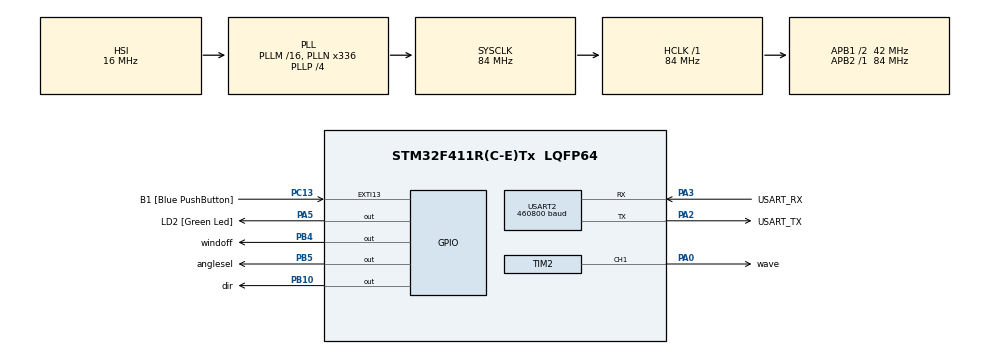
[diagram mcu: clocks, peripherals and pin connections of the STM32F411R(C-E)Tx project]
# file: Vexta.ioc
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Mcu.Family=STM32F4
Mcu.Name=STM32F411R(C-E)Tx
Mcu.Package=LQFP64
NVIC.EXTI15_10_IRQn=true\:0\:0\:false\:false\:true\:true\:true\:true
NVIC.PriorityGroup=NVIC_PRIORITYGROUP_0
NVIC.TIM2_IRQn=true\:0\:0\:false\:false\:true\:true\:true\:true
NVIC.USART2_IRQn=true\:0\:0\:false\:false\:true\:true\:true\:true
PA0-WKUP.GPIO_Label=wave
PA0-WKUP.Signal=S_TIM2_CH1_ETR
PA13.GPIO_Label=TMS
PA13.Mode=Serial_Wire
PA13.Signal=SYS_JTMS-SWDIO
PA14.GPIO_Label=TCK
PA14.Mode=Serial_Wire
PA14.Signal=SYS_JTCK-SWCLK
PA2.GPIO_Label=USART_TX
PA2.Mode=Asynchronous
PA2.Signal=USART2_TX
PA3.GPIO_Label=USART_RX
PA3.Mode=Asynchronous
PA3.Signal=USART2_RX
PA5.GPIO_Label=LD2 [Green Led]
PA5.Signal=GPIO_Output
PB10.GPIO_Label=dir
PB10.Signal=GPIO_Output
PB3.GPIO_Label=SWO
PB3.Signal=SYS_JTDO-SWO
PB4.GPIO_Label=windoff
PB4.Signal=GPIO_Output
PB5.GPIO_Label=anglesel
PB5.Signal=GPIO_Output
PC13-ANTI_TAMP.GPIO_Label=B1 [Blue PushButton]
PC13-ANTI_TAMP.GPIO_ModeDefaultEXTI=GPIO_MODE_IT_FALLING
PC13-ANTI_TAMP.Signal=GPXTI13
PC14-OSC32_IN.Mode=LSE-External-Oscillator
PC14-OSC32_IN.Signal=RCC_OSC32_IN
PC15-OSC32_OUT.Mode=LSE-External-Oscillator
PC15-OSC32_OUT.Signal=RCC_OSC32_OUT
PH0\ -\ OSC_IN.Mode=HSE-External-Clock-Source
PH0\ -\ OSC_IN.Signal=RCC_OSC_IN
PH1\ -\ OSC_OUT.Mode=HSE-External-Clock-Source
PH1\ -\ OSC_OUT.Signal=RCC_OSC_OUT
ProjectManager.HeapSize=0x200
ProjectManager.StackSize=0x400
ProjectManager.TargetToolchain=STM32CubeIDE
RCC.48MHZClocksFreq_Value=84000000
RCC.AHBFreq_Value=84000000
RCC.APB1CLKDivider=RCC_HCLK_DIV2
RCC.APB1Freq_Value=42000000
RCC.APB1TimFreq_Value=84000000
RCC.APB2Freq_Value=84000000
RCC.APB2TimFreq_Value=84000000
RCC.CortexFreq_Value=84000000
RCC.FLatency-AdvancedSettings=FLASH_LATENCY_2
RCC.HCLKFreq_Value=84000000
RCC.HSE_VALUE=8000000
RCC.HSI_VALUE=16000000
RCC.PLLN=336
RCC.PLLP=RCC_PLLP_DIV4
RCC.SYSCLKFreq_VALUE=84000000
RCC.SYSCLKSource=RCC_SYSCLKSOURCE_PLLCLK
RCC.VCOOutputFreq_Value=336000000
SH.S_TIM2_CH1_ETR.0=TIM2_CH1,Output Compare1 CH1
TIM2.Channel-Output\ Compare1\ CH1=TIM_CHANNEL_1
TIM2.OCMode_1=TIM_OCMODE_TOGGLE
TIM2.Prescaler=31
USART2.BaudRate=460800
USART2.VirtualMode=VM_ASYNC
VP_TIM2_VS_ClockSourceINT.Mode=Internal
board=NUCLEO-F411RE

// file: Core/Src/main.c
/* USER CODE BEGIN Header */
/**
  ******************************************************************************
  * @file           : main.c
  * @brief          : Main program body
  ******************************************************************************
  * @attention
  *
  * Copyright (c) 2024 STMicroelectronics.
  * All rights reserved.
  *
  * This software is licensed under terms that can be found in the LICENSE file
  * in the root directory of this software component.
  * If no LICENSE file comes with this software, it is provided AS-IS.
  *
  ******************************************************************************
  */
/* USER CODE END Header */
#include "main.h"

/* USER CODE BEGIN Includes */
#include <string.h>
#include <stdlib.h>
/* USER CODE END Includes */

/* USER CODE BEGIN PM */
#define TIM2_PSC 1

#define MINT 1400
#define MAXT 3200000

#define MINspeed 0
#define MAXspeed 65535
/* USER CODE END PM */

TIM_HandleTypeDef htim2;

UART_HandleTypeDef huart2;

/* USER CODE BEGIN PV */
uint8_t uart_buf;
char uart_msg[10]; // max 10: axis, dir, vel, XXXXX, \0 -> 9 chars
int msg_i = 0;
uint32_t T;

typedef enum {false, true} bool;
bool move_b = false;  // indicates if the axis is moving
/* USER CODE END PV */

void SystemClock_Config(void);
static void MX_GPIO_Init(void);
static void MX_USART2_UART_Init(void);
static void MX_TIM2_Init(void);
/* USER CODE BEGIN PFP */
uint32_t map(uint16_t x, uint16_t v_min, uint16_t v_max, uint32_t t_min, uint32_t t_max);
void generateSquare(uint16_t speed);
void setAxis(const char * settings);
/* USER CODE END PFP */

/* USER CODE BEGIN 0 */
void HAL_GPIO_EXTI_Callback(uint16_t GPIO_Pin)
{
	if (GPIO_Pin == B1_Pin)
	{
		HAL_GPIO_TogglePin(dir_GPIO_Port, dir_Pin);
		HAL_GPIO_TogglePin(LD2_GPIO_Port, LD2_Pin);
	}
}

void HAL_TIM_OC_DelayElapsedCallback(TIM_HandleTypeDef *htim)
{
	if (htim -> Channel == HAL_TIM_ACTIVE_CHANNEL_1)
			__HAL_TIM_SetCompare(&htim2, TIM_CHANNEL_1, __HAL_TIM_GetCompare(&htim2, TIM_CHANNEL_1) + T);
}

void HAL_UART_RxCpltCallback(UART_HandleTypeDef *huart)
{
	if (uart_buf != '\r') {
		uart_msg[msg_i] = uart_buf;
		msg_i++;
	} else {
		uart_msg[msg_i] = '\0';
		uint16_t speed = atoi(uart_msg + 3);

		setAxis(uart_msg);
		generateSquare(speed);

		msg_i = 0;
	}
	HAL_UART_Receive_IT(&huart2, &uart_buf, 1);
}

uint32_t map(uint16_t x, uint16_t v_min, uint16_t v_max, uint32_t t_min, uint32_t t_max)
{

	return t_max/((x - v_min) * (t_max/t_min - 1) / (v_max - v_min) + 1);
}

void generateSquare(uint16_t speed)
{
	if (speed > 0) {
		T = map(speed, MINspeed, MAXspeed, MINT, MAXT);
		if (!move_b) {
			__HAL_TIM_SetCompare(&htim2, TIM_CHANNEL_1, __HAL_TIM_GET_COUNTER(&htim2) + T);
			HAL_TIM_OC_Start_IT(&htim2, TIM_CHANNEL_1);
			move_b = true;
		}
	}
	else {
		HAL_TIM_OC_Stop_IT(&htim2, TIM_CHANNEL_1);
		move_b = false;
	}
}

void setAxis(const char * settings)
{
	if (settings[0] == 'f') HAL_GPIO_WritePin(dir_GPIO_Port, dir_Pin, GPIO_PIN_SET);
	if (settings[0] == 'b') HAL_GPIO_WritePin(dir_GPIO_Port, dir_Pin, GPIO_PIN_RESET);

	if (settings[1] == 'm') HAL_GPIO_WritePin(windoff_GPIO_Port, windoff_Pin, GPIO_PIN_SET);
	if (settings[1] == 'w') HAL_GPIO_WritePin(windoff_GPIO_Port, windoff_Pin, GPIO_PIN_RESET);

	if (settings[2] == 's') HAL_GPIO_WritePin(anglesel_GPIO_Port, anglesel_Pin, GPIO_PIN_SET);
	if (settings[2] == 'r') HAL_GPIO_WritePin(anglesel_GPIO_Port, anglesel_Pin, GPIO_PIN_RESET);
}
/* USER CODE END 0 */

int main(void)
{

  /* MCU Configuration--------------------------------------------------------*/

  /* Reset of all peripherals, Initializes the Flash interface and the Systick. */
  HAL_Init();

  /* Configure the system clock */
  SystemClock_Config();

  /* Initialize all configured peripherals */
  MX_GPIO_Init();
  MX_USART2_UART_Init();
  MX_TIM2_Init();
  /* USER CODE BEGIN 2 */
  HAL_UART_Receive_IT(&huart2, &uart_buf, 1);
  /* USER CODE END 2 */

  /* Infinite loop */
  while (1)
  {

  }
}

void SystemClock_Config(void)
{
  RCC_OscInitTypeDef RCC_OscInitStruct = {0};
  RCC_ClkInitTypeDef RCC_ClkInitStruct = {0};

  /** Configure the main internal regulator output voltage
  */
  __HAL_RCC_PWR_CLK_ENABLE();
  __HAL_PWR_VOLTAGESCALING_CONFIG(PWR_REGULATOR_VOLTAGE_SCALE1);

  /** Initializes the RCC Oscillators according to the specified parameters
  * in the RCC_OscInitTypeDef structure.
  */
  RCC_OscInitStruct.OscillatorType = RCC_OSCILLATORTYPE_HSI;
  RCC_OscInitStruct.HSIState = RCC_HSI_ON;
  RCC_OscInitStruct.HSICalibrationValue = RCC_HSICALIBRATION_DEFAULT;
  RCC_OscInitStruct.PLL.PLLState = RCC_PLL_ON;
  RCC_OscInitStruct.PLL.PLLSource = RCC_PLLSOURCE_HSI;
  RCC_OscInitStruct.PLL.PLLM = 16;
  RCC_OscInitStruct.PLL.PLLN = 336;
  RCC_OscInitStruct.PLL.PLLP = RCC_PLLP_DIV4;
  RCC_OscInitStruct.PLL.PLLQ = 4;
  if (HAL_RCC_OscConfig(&RCC_OscInitStruct) != HAL_OK)
  {
    Error_Handler();
  }

  /** Initializes the CPU, AHB and APB buses clocks
  */
  RCC_ClkInitStruct.ClockType = RCC_CLOCKTYPE_HCLK|RCC_CLOCKTYPE_SYSCLK
                              |RCC_CLOCKTYPE_PCLK1|RCC_CLOCKTYPE_PCLK2;
  RCC_ClkInitStruct.SYSCLKSource = RCC_SYSCLKSOURCE_PLLCLK;
  RCC_ClkInitStruct.AHBCLKDivider = RCC_SYSCLK_DIV1;
  RCC_ClkInitStruct.APB1CLKDivider = RCC_HCLK_DIV2;
  RCC_ClkInitStruct.APB2CLKDivider = RCC_HCLK_DIV1;

  if (HAL_RCC_ClockConfig(&RCC_ClkInitStruct, FLASH_LATENCY_2) != HAL_OK)
  {
    Error_Handler();
  }
}

static void MX_TIM2_Init(void)
{

  TIM_ClockConfigTypeDef sClockSourceConfig = {0};
  TIM_MasterConfigTypeDef sMasterConfig = {0};
  TIM_OC_InitTypeDef sConfigOC = {0};

  htim2.Instance = TIM2;
  htim2.Init.Prescaler = TIM2_PSC - 1;
  htim2.Init.CounterMode = TIM_COUNTERMODE_UP;
  htim2.Init.Period = 4294967295;
  htim2.Init.ClockDivision = TIM_CLOCKDIVISION_DIV1;
  htim2.Init.AutoReloadPreload = TIM_AUTORELOAD_PRELOAD_DISABLE;
  if (HAL_TIM_Base_Init(&htim2) != HAL_OK)
  {
    Error_Handler();
  }
  sClockSourceConfig.ClockSource = TIM_CLOCKSOURCE_INTERNAL;
  if (HAL_TIM_ConfigClockSource(&htim2, &sClockSourceConfig) != HAL_OK)
  {
    Error_Handler();
  }
  if (HAL_TIM_OC_Init(&htim2) != HAL_OK)
  {
    Error_Handler();
  }
  sMasterConfig.MasterOutputTrigger = TIM_TRGO_RESET;
  sMasterConfig.MasterSlaveMode = TIM_MASTERSLAVEMODE_DISABLE;
  if (HAL_TIMEx_MasterConfigSynchronization(&htim2, &sMasterConfig) != HAL_OK)
  {
    Error_Handler();
  }
  sConfigOC.OCMode = TIM_OCMODE_TOGGLE;
  sConfigOC.Pulse = 0;
  sConfigOC.OCPolarity = TIM_OCPOLARITY_HIGH;
  sConfigOC.OCFastMode = TIM_OCFAST_DISABLE;
  if (HAL_TIM_OC_ConfigChannel(&htim2, &sConfigOC, TIM_CHANNEL_1) != HAL_OK)
  {
    Error_Handler();
  }
  HAL_TIM_MspPostInit(&htim2);

}

static void MX_USART2_UART_Init(void)
{

  huart2.Instance = USART2;
  huart2.Init.BaudRate = 460800;
  huart2.Init.WordLength = UART_WORDLENGTH_8B;
  huart2.Init.StopBits = UART_STOPBITS_1;
  huart2.Init.Parity = UART_PARITY_NONE;
  huart2.Init.Mode = UART_MODE_TX_RX;
  huart2.Init.HwFlowCtl = UART_HWCONTROL_NONE;
  huart2.Init.OverSampling = UART_OVERSAMPLING_16;
  if (HAL_UART_Init(&huart2) != HAL_OK)
  {
    Error_Handler();
  }

}

static void MX_GPIO_Init(void)
{
  GPIO_InitTypeDef GPIO_InitStruct = {0};

  /* GPIO Ports Clock Enable */
  __HAL_RCC_GPIOC_CLK_ENABLE();
  __HAL_RCC_GPIOH_CLK_ENABLE();
  __HAL_RCC_GPIOA_CLK_ENABLE();
  __HAL_RCC_GPIOB_CLK_ENABLE();

  /*Configure GPIO pin Output Level */
  HAL_GPIO_WritePin(LD2_GPIO_Port, LD2_Pin, GPIO_PIN_RESET);

  /*Configure GPIO pin Output Level */
  HAL_GPIO_WritePin(GPIOB, dir_Pin|windoff_Pin|anglesel_Pin, GPIO_PIN_RESET);

  /*Configure GPIO pin : B1_Pin */
  GPIO_InitStruct.Pin = B1_Pin;
  GPIO_InitStruct.Mode = GPIO_MODE_IT_FALLING;
  GPIO_InitStruct.Pull = GPIO_NOPULL;
  HAL_GPIO_Init(B1_GPIO_Port, &GPIO_InitStruct);

  /*Configure GPIO pin : LD2_Pin */
  GPIO_InitStruct.Pin = LD2_Pin;
  GPIO_InitStruct.Mode = GPIO_MODE_OUTPUT_PP;
  GPIO_InitStruct.Pull = GPIO_NOPULL;
  GPIO_InitStruct.Speed = GPIO_SPEED_FREQ_LOW;
  HAL_GPIO_Init(LD2_GPIO_Port, &GPIO_InitStruct);

  /*Configure GPIO pins : dir_Pin windoff_Pin anglesel_Pin */
  GPIO_InitStruct.Pin = dir_Pin|windoff_Pin|anglesel_Pin;
  GPIO_InitStruct.Mode = GPIO_MODE_OUTPUT_PP;
  GPIO_InitStruct.Pull = GPIO_NOPULL;
  GPIO_InitStruct.Speed = GPIO_SPEED_FREQ_LOW;
  HAL_GPIO_Init(GPIOB, &GPIO_InitStruct);

  /* EXTI interrupt init*/
  HAL_NVIC_SetPriority(EXTI15_10_IRQn, 0, 0);
  HAL_NVIC_EnableIRQ(EXTI15_10_IRQn);

}

void Error_Handler(void)
{
  __disable_irq();
  while (1)
  {
  }
}
